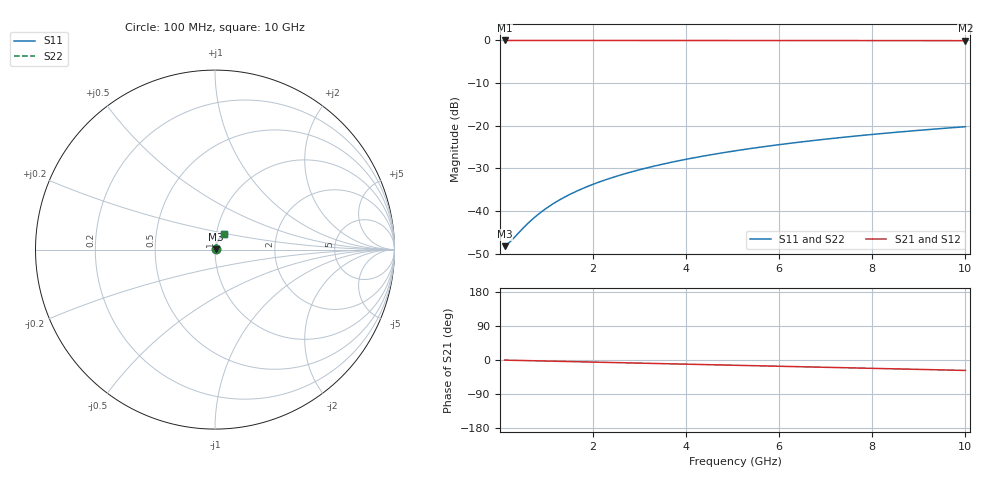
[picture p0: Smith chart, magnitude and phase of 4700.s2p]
# Hz S RI R 50.00
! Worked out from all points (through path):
!   100 points, 100 MHz to 10 GHz, reference 50 ohm
!   highest |S21| = -0.03 dB at 100 MHz (marker M1); lowest = -0.1 dB at 10 GHz (marker M2)
!   group delay of S21, straight-line fit = 7.65 ps
!   lowest |S11| = -48.2 dB at 100 MHz (marker M3), VSWR 1.01, Z = 50.4 + j0.1 ohm
!   |S11| at or under -10 dB: start of sweep to end of sweep
!   |S22| runs from -48.2 to -20.2 dB; largest |S21 - S12| = 0
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1e8  0.00377 0.000997  0.9962 -0.00478  0.9962 -0.00478  0.00377 0.000997
2e8  0.0038 0.00199  0.9962 -0.00957  0.9962 -0.00957  0.0038 0.00199
5e8  0.00395 0.00498  0.9959 -0.0239  0.9959 -0.0239  0.00395 0.00498
6e8  0.00401 0.00598  0.9957 -0.0287  0.9957 -0.0287  0.00401 0.00598
7e8  0.00408 0.00697  0.9955 -0.0335  0.9955 -0.0335  0.00408 0.00697
9e8  0.00425 0.00896  0.9951 -0.043  0.9951 -0.043  0.00425 0.00896
1.1e9  0.00445 0.0109  0.9946 -0.0526  0.9946 -0.0526  0.00445 0.0109
1.3e9  0.00469 0.0129  0.994 -0.0621  0.994 -0.0621  0.00469 0.0129
1.5e9  0.00497 0.0149  0.9934 -0.0717  0.9934 -0.0717  0.00497 0.0149
1.8e9  0.00546 0.0178  0.9921 -0.086  0.9921 -0.086  0.00546 0.0178
2.1e9  0.00603 0.0208  0.9907 -0.1003  0.9907 -0.1003  0.00603 0.0208
2.5e9  0.00692 0.0246  0.9885 -0.1193  0.9885 -0.1193  0.00692 0.0246
2.9e9  0.00796 0.0285  0.9859 -0.1382  0.9859 -0.1382  0.00796 0.0285
3.4e9  0.00946 0.0332  0.9821 -0.1619  0.9821 -0.1619  0.00946 0.0332
3.8e9  0.0108 0.037  0.9786 -0.1807  0.9786 -0.1807  0.0108 0.037
4.2e9  0.0123 0.0406  0.9748 -0.1994  0.9748 -0.1994  0.0123 0.0406
5.1e9  0.0162 0.0487  0.9648 -0.2413  0.9648 -0.2413  0.0162 0.0487
5.9e9  0.0203 0.0555  0.9544 -0.2781  0.9544 -0.2781  0.0203 0.0555
6.7e9  0.0248 0.062  0.9425 -0.3144  0.9425 -0.3144  0.0248 0.062
7.5e9  0.0299 0.0682  0.9292 -0.3502  0.9292 -0.3502  0.0299 0.0682
8.4e9  0.0361 0.0746  0.9125 -0.3898  0.9125 -0.3898  0.0361 0.0746
1e10  0.0485 0.0845  0.8787 -0.4581  0.8787 -0.4581  0.0485 0.0845
